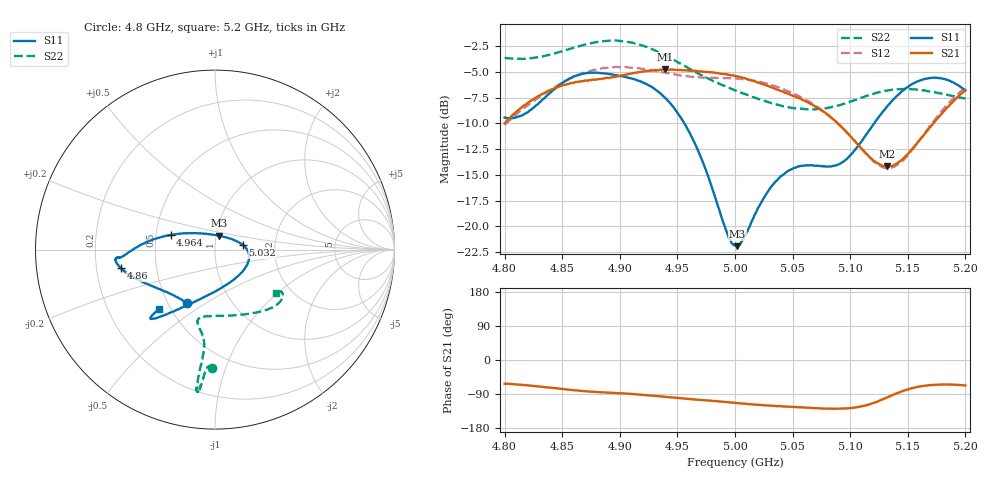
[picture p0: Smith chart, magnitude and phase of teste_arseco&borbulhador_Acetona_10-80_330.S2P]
! Network Analyzer HP8722D
! Hewlett-Packard
! Data name: Linha & Wilkinson
! Saver's name: Rodrigo Anjos
! Comments: Teste da utilização de aquisição
! continua pelo VNA HP8722D
! Time and date: 17/4/2025 17:06
!  Frequency  S11  S21  S12  S22
# HZ  S  MA R 50
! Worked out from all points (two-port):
!   401 points, 4.8 GHz to 5.2 GHz, reference 50 ohm
!   highest |S21| = -4.76 dB at 4.939 GHz (marker M1); lowest = -14.2 dB at 5.132 GHz (marker M2)
!   |S21| within 3 dB of the highest: 4.823 GHz to 5.059 GHz (235.9 MHz wide, 4.77 % of centre); 5.190363 GHz to end of sweep
!   lowest |S11| = -21.9 dB at 5.002 GHz (marker M3), VSWR 1.17, Z = 51.5 + j8.02 ohm
!   |S11| at or under -10 dB: 4.956 GHz to 5.121 GHz (164.9 MHz wide, 3.27 % of centre)
!   |S22| runs from -8.7 to -2.0 dB; largest |S21 - S12| = 0.87
!   S11 on the Smith chart (normalised r, x): 4.8 GHz: 0.62, -0.42; 4.86 GHz: 0.31, -0.09; 4.964 GHz: 0.60, +0.10; 5.032 GHz: 1.36, +0.07; 5.2 GHz: 0.43, -0.36
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4.8e9  0.3371 -117.3  0.3167 -62.5  0.3112 -176.8  0.6576 -91.4
4.818e9  0.3526 -136.4  0.389 -66.5  0.3795 -176.3  0.6515 -93.1
4.86e9  0.5341 -168.8  0.4975 -79.6  0.5315 -179.7  0.7363 -95.6
4.867e9  0.5494 -171.4  0.506 -81.5  0.5508 178.9  0.7555 -95.7
4.898e9  0.5402 -175.2  0.5349 -87.4  0.5931 173.1  0.797 -97.1
4.934e9  0.4479 179.2  0.5732 -95.9  0.5654 169.8  0.6992 -97.4
4.939e9  0.422 177.1  0.5779 -97.1  0.558 169.9  0.6794 -97.2
4.964e9  0.2607 161.7  0.5698 -103.8  0.5323 171.9  0.5681 -96.3
4.976e9  0.179 149.3  0.5616 -106.6  0.5267 172.9  0.5237 -96.6
4.993e9  0.09312 111.9  0.5462 -111.2  0.525 174.0  0.4745 -98.8
5e9  0.08102 83.7  0.5377 -113.3  0.5235 174.1  0.4571 -100.1
5.002e9  0.08007 75.1  0.5345 -113.9  0.522 174.1  0.4538 -100.6
5.032e9  0.1568 9.7  0.4715 -120.8  0.4849 172.8  0.3958 -103.3
5.048e9  0.188 -5.3  0.4362 -123.4  0.4492 172.2  0.3767 -98.9
5.067e9  0.1978 -25.8  0.3903 -126.6  0.395 171.9  0.3688 -88.1
5.096e9  0.2101 -76.0  0.29 -127.8  0.2907 174.9  0.3964 -65.7
5.119e9  0.306 -110.3  0.2117 -114.7  0.2095 -170.1  0.4382 -50.5
5.132e9  0.3818 -120.7  0.1952 -98.9  0.1915 -152.3  0.4555 -44.1
5.134e9  0.3931 -121.9  0.1954 -96.4  0.1916 -149.3  0.4585 -43.3
5.147e9  0.4613 -127.7  0.2155 -80.4  0.2116 -130.9  0.4642 -38.5
5.168e9  0.5237 -132.5  0.2968 -66.9  0.3005 -113.1  0.4521 -33.5
5.2e9  0.4565 -133.4  0.459 -67.1  0.4688 -109.3  0.4167 -35.0
